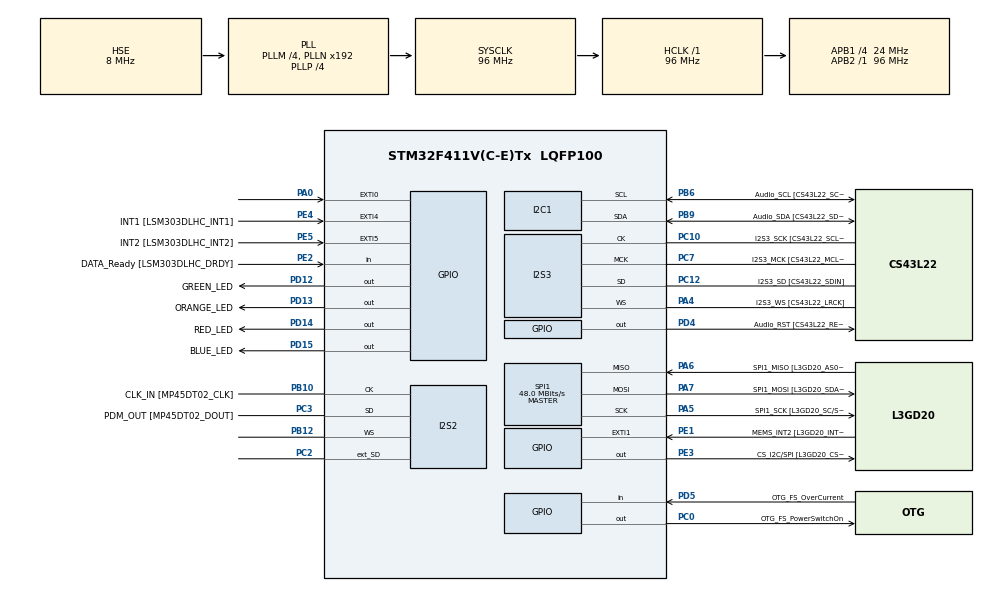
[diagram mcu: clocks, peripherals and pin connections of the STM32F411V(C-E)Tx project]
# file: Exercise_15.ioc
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FREERTOS.BinarySemaphores01=Blue2GreenEF,Dynamic,NULL;Blue2RedEF,Dynamic,NULL
FREERTOS.Tasks01=GREEN_LED,0,128,Start_GREEN_LED,Default,NULL,Dynamic,NULL,NULL;RED_LED,0,128,Start_RED_LED,Default,NULL,Dynamic,NULL,NULL;BLUE_LED,0,128,Start_BLUE_LED,Default,NULL,Dynamic,NULL,NULL
I2S2.AudioFreq=I2S_AUDIOFREQ_96K
I2S2.ErrorAudioFreq=0.15 %
I2S2.FullDuplexMode=I2S_FULLDUPLEXMODE_ENABLE
I2S2.Instance=SPI$Index
I2S2.RealAudioFreq=96.153 KHz
I2S2.VirtualMode=I2S_MODE_MASTER
I2S3.AudioFreq=I2S_AUDIOFREQ_96K
I2S3.ErrorAudioFreq=-6.99 %
I2S3.FullDuplexMode=I2S_FULLDUPLEXMODE_DISABLE
I2S3.Instance=SPI$Index
I2S3.RealAudioFreq=89.285 KHz
I2S3.VirtualMode=I2S_MODE_MASTER
Mcu.Family=STM32F4
Mcu.Name=STM32F411V(C-E)Tx
Mcu.Package=LQFP100
NVIC.PriorityGroup=NVIC_PRIORITYGROUP_4
NVIC.TIM1_UP_TIM10_IRQn=true\:0\:0\:false\:false\:true\:false\:false\:true
NVIC.TimeBase=TIM1_UP_TIM10_IRQn
NVIC.TimeBaseIP=TIM1
PA0-WKUP.GPIO_ModeDefaultEXTI=GPIO_MODE_EVT_RISING
PA0-WKUP.Signal=GPXTI0
PA10.GPIO_Label=OTG_FS_ID
PA10.Signal=USB_OTG_FS_ID
PA11.GPIO_Label=OTG_FS_DM
PA11.Signal=USB_OTG_FS_DM
PA12.GPIO_Label=OTG_FS_DP
PA12.Signal=USB_OTG_FS_DP
PA13.GPIO_Label=SWDIO
PA13.Mode=Serial_Wire
PA13.Signal=SYS_JTMS-SWDIO
PA14.GPIO_Label=SWCLK
PA14.Mode=Serial_Wire
PA14.Signal=SYS_JTCK-SWCLK
PA4.GPIO_Label=I2S3_WS [CS43L22_LRCK]
PA4.GPIO_Mode=GPIO_MODE_AF_PP
PA4.GPIO_PuPd=GPIO_NOPULL
PA4.GPIO_Speed=GPIO_SPEED_FREQ_LOW
PA4.Mode=Half_Duplex_Master
PA4.Signal=I2S3_WS
PA5.GPIO_Label=SPI1_SCK [L3GD20_SC/SPC]
PA5.Mode=Full_Duplex_Master
PA5.Signal=SPI1_SCK
PA6.GPIO_Label=SPI1_MISO [L3GD20_AS0/SDO]
PA6.Mode=Full_Duplex_Master
PA6.Signal=SPI1_MISO
PA7.GPIO_Label=SPI1_MOSI [L3GD20_SDA/SDI/SDO]
PA7.Mode=Full_Duplex_Master
PA7.Signal=SPI1_MOSI
PA9.GPIO_Label=VBUS_FS
PA9.Signal=USB_OTG_FS_VBUS
PB10.GPIO_Label=CLK_IN [MP45DT02_CLK]
PB10.Mode=Full_Duplex_Master
PB10.Signal=I2S2_CK
PB12.Mode=Full_Duplex_Master
PB12.Signal=I2S2_WS
PB3.GPIO_Label=SWO
PB3.Signal=SYS_JTDO-SWO
PB6.GPIO_Label=Audio_SCL [CS43L22_SCL]
PB6.GPIO_Mode=GPIO_MODE_AF_OD
PB6.GPIO_PuPd=GPIO_NOPULL
PB6.GPIO_Speed=GPIO_SPEED_FREQ_LOW
PB6.Mode=I2C
PB6.Signal=I2C1_SCL
PB9.GPIO_Label=Audio_SDA [CS43L22_SDA]
PB9.GPIO_Mode=GPIO_MODE_AF_OD
PB9.GPIO_PuPd=GPIO_NOPULL
PB9.GPIO_Speed=GPIO_SPEED_FREQ_LOW
PB9.Mode=I2C
PB9.Signal=I2C1_SDA
PC0.GPIO_Label=OTG_FS_PowerSwitchOn
PC0.PinState=GPIO_PIN_SET
PC0.Signal=GPIO_Output
PC10.GPIO_Label=I2S3_SCK [CS43L22_SCLK]
PC10.GPIO_Mode=GPIO_MODE_AF_PP
PC10.GPIO_PuPd=GPIO_NOPULL
PC10.GPIO_Speed=GPIO_SPEED_FREQ_LOW
PC10.Mode=Half_Duplex_Master
PC10.Signal=I2S3_CK
PC12.GPIO_Label=I2S3_SD [CS43L22_SDIN]
PC12.GPIO_Mode=GPIO_MODE_AF_PP
PC12.GPIO_PuPd=GPIO_NOPULL
PC12.GPIO_Speed=GPIO_SPEED_FREQ_LOW
PC12.Mode=Half_Duplex_Master
PC12.Signal=I2S3_SD
PC14-OSC32_IN.GPIO_Label=PC14-OSC32_IN
PC14-OSC32_IN.Mode=LSE-External-Oscillator
PC14-OSC32_IN.Signal=RCC_OSC32_IN
PC15-OSC32_OUT.GPIO_Label=PC15-OSC32_OUT
PC15-OSC32_OUT.Mode=LSE-External-Oscillator
PC15-OSC32_OUT.Signal=RCC_OSC32_OUT
PC2.Mode=Full_Duplex_Master
PC2.Signal=I2S2_ext_SD
PC3.GPIO_Label=PDM_OUT [MP45DT02_DOUT]
PC3.Mode=Full_Duplex_Master
PC3.Signal=I2S2_SD
PC7.GPIO_Label=I2S3_MCK [CS43L22_MCLK]
PC7.GPIO_Mode=GPIO_MODE_AF_PP
PC7.GPIO_PuPd=GPIO_NOPULL
PC7.GPIO_Speed=GPIO_SPEED_FREQ_LOW
PC7.Mode=Master_Clock_Activated
PC7.Signal=I2S3_MCK
PD12.GPIO_Label=GREEN_LED
PD12.GPIO_PuPd=GPIO_NOPULL
PD12.GPIO_Speed=GPIO_SPEED_FREQ_LOW
PD12.Signal=GPIO_Output
PD13.GPIO_Label=ORANGE_LED
PD13.GPIO_PuPd=GPIO_NOPULL
PD13.GPIO_Speed=GPIO_SPEED_FREQ_LOW
PD13.Signal=GPIO_Output
PD14.GPIO_Label=RED_LED
PD14.GPIO_PuPd=GPIO_NOPULL
PD14.GPIO_Speed=GPIO_SPEED_FREQ_LOW
PD14.Signal=GPIO_Output
PD15.GPIO_Label=BLUE_LED
PD15.GPIO_PuPd=GPIO_NOPULL
PD15.GPIO_Speed=GPIO_SPEED_FREQ_LOW
PD15.Signal=GPIO_Output
PD4.GPIO_Label=Audio_RST [CS43L22_RESET]
PD4.Signal=GPIO_Output
PD5.GPIO_Label=OTG_FS_OverCurrent
PD5.Signal=GPIO_Input
PE1.GPIO_Label=MEMS_INT2 [L3GD20_INT2]
PE1.GPIO_ModeDefaultEXTI=GPIO_MODE_EVT_RISING
PE1.Signal=GPXTI1
PE2.GPIO_Label=DATA_Ready [LSM303DLHC_DRDY]
PE2.Signal=GPIO_Input
PE3.GPIO_Label=CS_I2C/SPI [L3GD20_CS_I2C/SPI]
PE3.Signal=GPIO_Output
PE4.GPIO_Label=INT1 [LSM303DLHC_INT1]
PE4.GPIO_ModeDefaultEXTI=GPIO_MODE_EVT_RISING
PE4.Signal=GPXTI4
PE5.GPIO_Label=INT2 [LSM303DLHC_INT2]
PE5.GPIO_ModeDefaultEXTI=GPIO_MODE_EVT_RISING
PE5.Signal=GPXTI5
PH0\ -\ OSC_IN.GPIO_Label=PH0-OSC_IN
PH0\ -\ OSC_IN.Mode=HSE-External-Oscillator
PH0\ -\ OSC_IN.Signal=RCC_OSC_IN
PH1\ -\ OSC_OUT.GPIO_Label=PH1-OSC_OUT
PH1\ -\ OSC_OUT.Mode=HSE-External-Oscillator
PH1\ -\ OSC_OUT.Signal=RCC_OSC_OUT
ProjectManager.HeapSize=0x200
ProjectManager.StackSize=0x400
ProjectManager.TargetToolchain=STM32CubeIDE
RCC.48MHZClocksFreq_Value=48000000
RCC.AHBFreq_Value=96000000
RCC.APB1CLKDivider=RCC_HCLK_DIV4
RCC.APB1Freq_Value=24000000
RCC.APB1TimFreq_Value=48000000
RCC.APB2Freq_Value=96000000
RCC.APB2TimFreq_Value=96000000
RCC.CortexFreq_Value=96000000
RCC.HCLKFreq_Value=96000000
RCC.HSE_VALUE=8000000
RCC.HSI_VALUE=16000000
RCC.PLLI2SM=5
RCC.PLLI2SN=200
RCC.PLLM=4
RCC.PLLP=RCC_PLLP_DIV4
RCC.PLLQ=8
RCC.PLLSourceVirtual=RCC_PLLSOURCE_HSE
RCC.SYSCLKFreq_VALUE=96000000
RCC.SYSCLKSource=RCC_SYSCLKSOURCE_PLLCLK
RCC.VCOOutputFreq_Value=384000000
SPI1.BaudRatePrescaler=SPI_BAUDRATEPRESCALER_2
SPI1.CalculateBaudRate=48.0 MBits/s
SPI1.Direction=SPI_DIRECTION_2LINES
SPI1.Mode=SPI_MODE_MASTER
SPI1.VirtualType=VM_MASTER
VP_FREERTOS_VS_CMSIS_V1.Mode=CMSIS_V1
VP_SYS_VS_tim1.Mode=TIM1
board=STM32F411E-DISCO

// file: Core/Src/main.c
/* USER CODE BEGIN Header */
/**
  ******************************************************************************
  * @file           : main.c
  * @brief          : Main program body
  ******************************************************************************
  * @attention
  *
  * <h2><center>&copy; Copyright (c) 2024 STMicroelectronics.
  * All rights reserved.</center></h2>
  *
  * This software component is licensed by ST under Ultimate Liberty license
  * SLA0044, the "License"; You may not use this file except in compliance with
  * the License. You may obtain a copy of the License at:
  *                             www.st.com/SLA0044
  *
  ******************************************************************************
  */
/* USER CODE END Header */

#include "main.h"
#include "cmsis_os.h"

I2C_HandleTypeDef hi2c1;

I2S_HandleTypeDef hi2s2;
I2S_HandleTypeDef hi2s3;

SPI_HandleTypeDef hspi1;

osThreadId GREEN_LEDHandle;
osThreadId RED_LEDHandle;
osThreadId BLUE_LEDHandle;
osSemaphoreId Blue2GreenEFHandle;
osSemaphoreId Blue2RedEFHandle;

void SystemClock_Config(void);
static void MX_GPIO_Init(void);
static void MX_I2C1_Init(void);
static void MX_I2S2_Init(void);
static void MX_I2S3_Init(void);
static void MX_SPI1_Init(void);
void Start_GREEN_LED(void const * argument);
void Start_RED_LED(void const * argument);
void Start_BLUE_LED(void const * argument);

int main(void)
{

  /* MCU Configuration--------------------------------------------------------*/

  /* Reset of all peripherals, Initializes the Flash interface and the Systick. */
  HAL_Init();

  /* Configure the system clock */
  SystemClock_Config();

  /* Initialize all configured peripherals */
  MX_GPIO_Init();
  MX_I2C1_Init();
  MX_I2S2_Init();
  MX_I2S3_Init();
  MX_SPI1_Init();

  /* Create the semaphores(s) */
  /* definition and creation of Blue2GreenEF */
  osSemaphoreDef(Blue2GreenEF);
  Blue2GreenEFHandle = osSemaphoreCreate(osSemaphore(Blue2GreenEF), 1);

  /* definition and creation of Blue2RedEF */
  osSemaphoreDef(Blue2RedEF);
  Blue2RedEFHandle = osSemaphoreCreate(osSemaphore(Blue2RedEF), 1);

  /* USER CODE BEGIN RTOS_SEMAPHORES */
  osSemaphoreWait(Blue2RedEFHandle, 0);
  osSemaphoreWait(Blue2GreenEFHandle , 0);
  /* USER CODE END RTOS_SEMAPHORES */

  /* Create the thread(s) */
  /* definition and creation of GREEN_LED */
  osThreadDef(GREEN_LED, Start_GREEN_LED, osPriorityNormal, 0, 128);
  GREEN_LEDHandle = osThreadCreate(osThread(GREEN_LED), NULL);

  /* definition and creation of RED_LED */
  osThreadDef(RED_LED, Start_RED_LED, osPriorityNormal, 0, 128);
  RED_LEDHandle = osThreadCreate(osThread(RED_LED), NULL);

  /* definition and creation of BLUE_LED */
  osThreadDef(BLUE_LED, Start_BLUE_LED, osPriorityNormal, 0, 128);
  BLUE_LEDHandle = osThreadCreate(osThread(BLUE_LED), NULL);

  /* Start scheduler */
  osKernelStart();

  /* We should never get here as control is now taken by the scheduler */

  /* Infinite loop */
  while (1)
  {

  }
}

void SystemClock_Config(void)
{
  RCC_OscInitTypeDef RCC_OscInitStruct = {0};
  RCC_ClkInitTypeDef RCC_ClkInitStruct = {0};
  RCC_PeriphCLKInitTypeDef PeriphClkInitStruct = {0};

  /** Configure the main internal regulator output voltage
  */
  __HAL_RCC_PWR_CLK_ENABLE();
  __HAL_PWR_VOLTAGESCALING_CONFIG(PWR_REGULATOR_VOLTAGE_SCALE1);
  /** Initializes the CPU, AHB and APB busses clocks
  */
  RCC_OscInitStruct.OscillatorType = RCC_OSCILLATORTYPE_HSE;
  RCC_OscInitStruct.HSEState = RCC_HSE_ON;
  RCC_OscInitStruct.PLL.PLLState = RCC_PLL_ON;
  RCC_OscInitStruct.PLL.PLLSource = RCC_PLLSOURCE_HSE;
  RCC_OscInitStruct.PLL.PLLM = 4;
  RCC_OscInitStruct.PLL.PLLN = 192;
  RCC_OscInitStruct.PLL.PLLP = RCC_PLLP_DIV4;
  RCC_OscInitStruct.PLL.PLLQ = 8;
  if (HAL_RCC_OscConfig(&RCC_OscInitStruct) != HAL_OK)
  {
    Error_Handler();
  }
  /** Initializes the CPU, AHB and APB busses clocks
  */
  RCC_ClkInitStruct.ClockType = RCC_CLOCKTYPE_HCLK|RCC_CLOCKTYPE_SYSCLK
                              |RCC_CLOCKTYPE_PCLK1|RCC_CLOCKTYPE_PCLK2;
  RCC_ClkInitStruct.SYSCLKSource = RCC_SYSCLKSOURCE_PLLCLK;
  RCC_ClkInitStruct.AHBCLKDivider = RCC_SYSCLK_DIV1;
  RCC_ClkInitStruct.APB1CLKDivider = RCC_HCLK_DIV4;
  RCC_ClkInitStruct.APB2CLKDivider = RCC_HCLK_DIV1;

  if (HAL_RCC_ClockConfig(&RCC_ClkInitStruct, FLASH_LATENCY_3) != HAL_OK)
  {
    Error_Handler();
  }
  PeriphClkInitStruct.PeriphClockSelection = RCC_PERIPHCLK_I2S;
  PeriphClkInitStruct.PLLI2S.PLLI2SN = 200;
  PeriphClkInitStruct.PLLI2S.PLLI2SM = 5;
  PeriphClkInitStruct.PLLI2S.PLLI2SR = 2;
  if (HAL_RCCEx_PeriphCLKConfig(&PeriphClkInitStruct) != HAL_OK)
  {
    Error_Handler();
  }
}

static void MX_I2C1_Init(void)
{

  hi2c1.Instance = I2C1;
  hi2c1.Init.ClockSpeed = 100000;
  hi2c1.Init.DutyCycle = I2C_DUTYCYCLE_2;
  hi2c1.Init.OwnAddress1 = 0;
  hi2c1.Init.AddressingMode = I2C_ADDRESSINGMODE_7BIT;
  hi2c1.Init.DualAddressMode = I2C_DUALADDRESS_DISABLE;
  hi2c1.Init.OwnAddress2 = 0;
  hi2c1.Init.GeneralCallMode = I2C_GENERALCALL_DISABLE;
  hi2c1.Init.NoStretchMode = I2C_NOSTRETCH_DISABLE;
  if (HAL_I2C_Init(&hi2c1) != HAL_OK)
  {
    Error_Handler();
  }

}

static void MX_I2S2_Init(void)
{

  hi2s2.Instance = SPI2;
  hi2s2.Init.Mode = I2S_MODE_MASTER_TX;
  hi2s2.Init.Standard = I2S_STANDARD_PHILIPS;
  hi2s2.Init.DataFormat = I2S_DATAFORMAT_16B;
  hi2s2.Init.MCLKOutput = I2S_MCLKOUTPUT_DISABLE;
  hi2s2.Init.AudioFreq = I2S_AUDIOFREQ_96K;
  hi2s2.Init.CPOL = I2S_CPOL_LOW;
  hi2s2.Init.ClockSource = I2S_CLOCK_PLL;
  hi2s2.Init.FullDuplexMode = I2S_FULLDUPLEXMODE_ENABLE;
  if (HAL_I2S_Init(&hi2s2) != HAL_OK)
  {
    Error_Handler();
  }

}

static void MX_I2S3_Init(void)
{

  hi2s3.Instance = SPI3;
  hi2s3.Init.Mode = I2S_MODE_MASTER_TX;
  hi2s3.Init.Standard = I2S_STANDARD_PHILIPS;
  hi2s3.Init.DataFormat = I2S_DATAFORMAT_16B;
  hi2s3.Init.MCLKOutput = I2S_MCLKOUTPUT_ENABLE;
  hi2s3.Init.AudioFreq = I2S_AUDIOFREQ_96K;
  hi2s3.Init.CPOL = I2S_CPOL_LOW;
  hi2s3.Init.ClockSource = I2S_CLOCK_PLL;
  hi2s3.Init.FullDuplexMode = I2S_FULLDUPLEXMODE_DISABLE;
  if (HAL_I2S_Init(&hi2s3) != HAL_OK)
  {
    Error_Handler();
  }

}

static void MX_SPI1_Init(void)
{

  /* SPI1 parameter configuration*/
  hspi1.Instance = SPI1;
  hspi1.Init.Mode = SPI_MODE_MASTER;
  hspi1.Init.Direction = SPI_DIRECTION_2LINES;
  hspi1.Init.DataSize = SPI_DATASIZE_8BIT;
  hspi1.Init.CLKPolarity = SPI_POLARITY_LOW;
  hspi1.Init.CLKPhase = SPI_PHASE_1EDGE;
  hspi1.Init.NSS = SPI_NSS_SOFT;
  hspi1.Init.BaudRatePrescaler = SPI_BAUDRATEPRESCALER_2;
  hspi1.Init.FirstBit = SPI_FIRSTBIT_MSB;
  hspi1.Init.TIMode = SPI_TIMODE_DISABLE;
  hspi1.Init.CRCCalculation = SPI_CRCCALCULATION_DISABLE;
  hspi1.Init.CRCPolynomial = 10;
  if (HAL_SPI_Init(&hspi1) != HAL_OK)
  {
    Error_Handler();
  }

}

static void MX_GPIO_Init(void)
{
  GPIO_InitTypeDef GPIO_InitStruct = {0};

  /* GPIO Ports Clock Enable */
  __HAL_RCC_GPIOE_CLK_ENABLE();
  __HAL_RCC_GPIOC_CLK_ENABLE();
  __HAL_RCC_GPIOH_CLK_ENABLE();
  __HAL_RCC_GPIOA_CLK_ENABLE();
  __HAL_RCC_GPIOB_CLK_ENABLE();
  __HAL_RCC_GPIOD_CLK_ENABLE();

  /*Configure GPIO pin Output Level */
  HAL_GPIO_WritePin(CS_I2C_SPI_GPIO_Port, CS_I2C_SPI_Pin, GPIO_PIN_RESET);

  /*Configure GPIO pin Output Level */
  HAL_GPIO_WritePin(OTG_FS_PowerSwitchOn_GPIO_Port, OTG_FS_PowerSwitchOn_Pin, GPIO_PIN_SET);

  /*Configure GPIO pin Output Level */
  HAL_GPIO_WritePin(GPIOD, GREEN_LED_Pin|ORANGE_LED_Pin|RED_LED_Pin|BLUE_LED_Pin
                          |Audio_RST_Pin, GPIO_PIN_RESET);

  /*Configure GPIO pin : DATA_Ready_Pin */
  GPIO_InitStruct.Pin = DATA_Ready_Pin;
  GPIO_InitStruct.Mode = GPIO_MODE_INPUT;
  GPIO_InitStruct.Pull = GPIO_NOPULL;
  HAL_GPIO_Init(DATA_Ready_GPIO_Port, &GPIO_InitStruct);

  /*Configure GPIO pin : CS_I2C_SPI_Pin */
  GPIO_InitStruct.Pin = CS_I2C_SPI_Pin;
  GPIO_InitStruct.Mode = GPIO_MODE_OUTPUT_PP;
  GPIO_InitStruct.Pull = GPIO_NOPULL;
  GPIO_InitStruct.Speed = GPIO_SPEED_FREQ_LOW;
  HAL_GPIO_Init(CS_I2C_SPI_GPIO_Port, &GPIO_InitStruct);

  /*Configure GPIO pins : INT1_Pin INT2_Pin MEMS_INT2_Pin */
  GPIO_InitStruct.Pin = INT1_Pin|INT2_Pin|MEMS_INT2_Pin;
  GPIO_InitStruct.Mode = GPIO_MODE_EVT_RISING;
  GPIO_InitStruct.Pull = GPIO_NOPULL;
  HAL_GPIO_Init(GPIOE, &GPIO_InitStruct);

  /*Configure GPIO pin : OTG_FS_PowerSwitchOn_Pin */
  GPIO_InitStruct.Pin = OTG_FS_PowerSwitchOn_Pin;
  GPIO_InitStruct.Mode = GPIO_MODE_OUTPUT_PP;
  GPIO_InitStruct.Pull = GPIO_NOPULL;
  GPIO_InitStruct.Speed = GPIO_SPEED_FREQ_LOW;
  HAL_GPIO_Init(OTG_FS_PowerSwitchOn_GPIO_Port, &GPIO_InitStruct);

  /*Configure GPIO pin : PA0 */
  GPIO_InitStruct.Pin = GPIO_PIN_0;
  GPIO_InitStruct.Mode = GPIO_MODE_EVT_RISING;
  GPIO_InitStruct.Pull = GPIO_NOPULL;
  HAL_GPIO_Init(GPIOA, &GPIO_InitStruct);

  /*Configure GPIO pins : GREEN_LED_Pin ORANGE_LED_Pin RED_LED_Pin BLUE_LED_Pin
                           Audio_RST_Pin */
  GPIO_InitStruct.Pin = GREEN_LED_Pin|ORANGE_LED_Pin|RED_LED_Pin|BLUE_LED_Pin
                          |Audio_RST_Pin;
  GPIO_InitStruct.Mode = GPIO_MODE_OUTPUT_PP;
  GPIO_InitStruct.Pull = GPIO_NOPULL;
  GPIO_InitStruct.Speed = GPIO_SPEED_FREQ_LOW;
  HAL_GPIO_Init(GPIOD, &GPIO_InitStruct);

  /*Configure GPIO pin : VBUS_FS_Pin */
  GPIO_InitStruct.Pin = VBUS_FS_Pin;
  GPIO_InitStruct.Mode = GPIO_MODE_INPUT;
  GPIO_InitStruct.Pull = GPIO_NOPULL;
  HAL_GPIO_Init(VBUS_FS_GPIO_Port, &GPIO_InitStruct);

  /*Configure GPIO pins : OTG_FS_ID_Pin OTG_FS_DM_Pin OTG_FS_DP_Pin */
  GPIO_InitStruct.Pin = OTG_FS_ID_Pin|OTG_FS_DM_Pin|OTG_FS_DP_Pin;
  GPIO_InitStruct.Mode = GPIO_MODE_AF_PP;
  GPIO_InitStruct.Pull = GPIO_NOPULL;
  GPIO_InitStruct.Speed = GPIO_SPEED_FREQ_VERY_HIGH;
  GPIO_InitStruct.Alternate = GPIO_AF10_OTG_FS;
  HAL_GPIO_Init(GPIOA, &GPIO_InitStruct);

  /*Configure GPIO pin : OTG_FS_OverCurrent_Pin */
  GPIO_InitStruct.Pin = OTG_FS_OverCurrent_Pin;
  GPIO_InitStruct.Mode = GPIO_MODE_INPUT;
  GPIO_InitStruct.Pull = GPIO_NOPULL;
  HAL_GPIO_Init(OTG_FS_OverCurrent_GPIO_Port, &GPIO_InitStruct);

}

void Start_GREEN_LED(void const * argument)
{
  /* USER CODE BEGIN 5 */
 int delayCnt_1 = 5000;
 int freqCnt_1 = 50;

  /* Infinite loop */
  for(;;)
  {
    osSemaphoreWait(Blue2GreenEFHandle,osWaitForever);
	for(int i = 0; i<delayCnt_1/freqCnt_1; i++)
	{
	  HAL_GPIO_TogglePin(GREEN_LED_GPIO_Port, GREEN_LED_Pin);
	  osDelay(freqCnt_1);
	}
  }
  /* USER CODE END 5 */
}

void Start_RED_LED(void const * argument)
{
  /* USER CODE BEGIN Start_RED_LED */
  int delayCnt_1 = 5000;
  int freqCnt_1 = 50;
  /* Infinite loop */
  for(;;)
  {
	osSemaphoreWait(Blue2RedEFHandle,osWaitForever);
	for(int i = 0; i<delayCnt_1/freqCnt_1; i++)
	{
	  HAL_GPIO_TogglePin(RED_LED_GPIO_Port, RED_LED_Pin);
	  osDelay(freqCnt_1);
	}
  }
  /* USER CODE END Start_RED_LED */
}

void Start_BLUE_LED(void const * argument)
{
  /* USER CODE BEGIN Start_BLUE_LED */
  int delayCnt_1 = 10000;
  int freqCnt_1 = 500;

  int delayCnt_2 = 6000;
  /* Infinite loop */
  for(;;)
  {
    for(int i = 0; i<delayCnt_1/freqCnt_1; i++)
  	{
  	  HAL_GPIO_TogglePin(BLUE_LED_GPIO_Port, BLUE_LED_Pin);
  	  osDelay(freqCnt_1);
  	}
    osSemaphoreRelease(Blue2GreenEFHandle);
    osDelay(delayCnt_2);
    osSemaphoreRelease(Blue2RedEFHandle);
  }
  /* USER CODE END Start_BLUE_LED */
}

void HAL_TIM_PeriodElapsedCallback(TIM_HandleTypeDef *htim)
{
  if (htim->Instance == TIM1) {
    HAL_IncTick();
  }
}

void Error_Handler(void)
{
}

/************************ (C) COPYRIGHT STMicroelectronics *****END OF FILE****/
